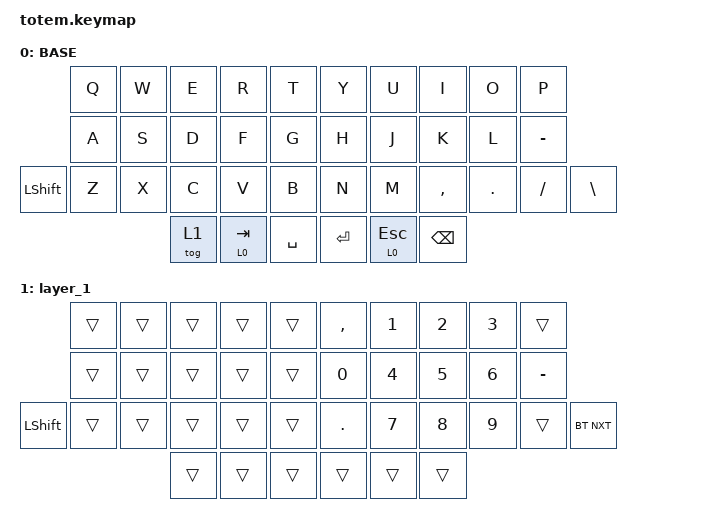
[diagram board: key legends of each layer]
//
//                                                        ▀▀▀▀▀     ▀▀▀▀▀          ▀▀█▀▀
//                                                        ▄▀▀▀▄  ▄  ▄▀▀▀▄  ▄  ▄▀▀▀▄  █  ▄▀▀▀▄
//                                                        █   █  █  █   █  █  █   █  █  █   █
//                                                         ▀▀▀   █   ▀▀▀   █   ▀▀▀   ▀   ▀▀▀
//                                                               █      ▄▄▄█▄▄▄    █   █
//                                                               ▀      █  █  █     █▄█
//                                                             ▀▀▀▀▀    █  █  █      ▀
//                                                                      ▀  ▀  ▀
//
// ▄▄▄▄▄▄▄▄▄▄▄▄▄▄▄▄▄▄▄▄▄▄▄▄▄▄▄▄▄▄▄▄▄▄▄▄▄▄▄▄▄▄▄▄▄▄▄▄▄▄▄▄▄▄▄▄▄▄▄▄▄▄▄▄▄▄▄▄▄▄▄▄▄▄▄▄▄▄▄▄▄▄▄▄▄▄▄▄▄▄▄▄▄▄▄▄▄▄▄▄▄▄▄▄▄▄▄▄▄▄▄▄▄▄▄▄▄▄▄▄▄▄▄▄▄▄▄▄▄▄▄▄▄▄▄▄▄▄▄▄▄▄▄▄▄▄▄▄▄

#include <behaviors.dtsi>
#include <dt-bindings/zmk/bt.h>
#include <dt-bindings/zmk/keys.h>

#define BASE 0
#define NAV  1
#define SYM  2
#define ADJ  3
#define TVP1 4
#define TVP2 5

&mt {
    quick-tap-ms = <100>;
    global-quick-tap;
    flavor = "tap-preferred";
    tapping-term-ms = <170>;
};

/ {
    combos {
        compatible = "zmk,combos";

        combo_esc {
            timeout-ms = <50>;
            key-positions = <0 1>;
            bindings = <&kp ESC>;
        };

        combo_tvp {
            timeout-ms = <100>;
            key-positions = <11 12 13>;
            bindings = <&tog 0>;
        };
    };

    macros {
        gif: gif {
            compatible = "zmk,behavior-macro";
            #binding-cells = <0>;
            bindings =
                <&macro_press>,
                <&kp LSHFT>,
                <&macro_tap>,
                <&kp N2>,
                <&macro_release>,
                <&kp LSHFT>,
                <&macro_tap>,
                <&kp G &kp I &kp F>;
        };
    };

    keymap {
        compatible = "zmk,keymap";

        // ▄▄▄▄▄▄▄▄▄▄▄▄▄▄▄▄▄▄▄▄▄▄▄▄▄▄▄▄▄▄▄▄▄▄▄▄▄▄▄▄▄▄▄▄▄▄▄▄▄▄▄▄▄▄▄▄▄▄▄▄▄▄▄▄▄▄▄▄▄▄▄▄▄▄▄▄▄▄▄▄▄▄▄▄▄▄▄▄▄▄▄▄▄▄▄▄▄▄▄▄▄▄▄▄▄▄▄▄▄▄▄▄▄▄▄▄▄▄▄▄▄▄▄▄▄▄▄▄▄▄▄▄▄▄▄▄▄▄▄▄▄▄▄▄▄▄▄▄▄

        base_layer {
            // ┏━━━━━━━━━━━━━━━━━━━━━━━━━━━━━━━━━━━━━━━┓
            // ┗━━━━━━━━━━━━━━━━━━━━━━━━━━━━━━━━━━━━━━━┛
            //             ┏━━━━━━━━━━━┳━━━━━━━━━━━┳━━━━━━━━━━━┳━━━━━━━━━━━┳━━━━━━━━━━━┓   ┏━━━━━━━━━━━┳━━━━━━━━━━━┳━━━━━━━━━━━┳━━━━━━━━━━━┳━━━━━━━━━━━┓
            //             ┃     Q     ┃     W     ┃     F     ┃     P     ┃     G     ┃   ┃     J     ┃     L     ┃     U     ┃     Y     ┃     ;     ┃
            //             ┣━━━━━━━━━━━╋━━━━━━━━━━━╋━━━━━━━━━━━╋━━━━━━━━━━━╋━━━━━━━━━━━┫   ┣━━━━━━━━━━━╋━━━━━━━━━━━╋━━━━━━━━━━━╋━━━━━━━━━━━╋━━━━━━━━━━━┫
            //             ┃     A     ┃     R     ┃     S     ┃     T     ┃     D     ┃   ┃     H     ┃     N     ┃     E     ┃     I     ┃     O     ┃
            // ┏━━━━━━━━━━━╋━━━━━━━━━━━╋━━━━━━━━━━━╋━━━━━━━━━━━╋━━━━━━━━━━━╋━━━━━━━━━━━┫   ┣━━━━━━━━━━━╋━━━━━━━━━━━╋━━━━━━━━━━━╋━━━━━━━━━━━╋━━━━━━━━━━━╋━━━━━━━━━━━┓
            // ┃     Q     ┃     Z     ┃     X     ┃     C     ┃     V     ┃     B     ┃   ┃     K     ┃     M     ┃     ,     ┃     .     ┃     /     ┃     \     ┃
            // ┗━━━━━━━━━━━┻━━━━━━━━━━━┻━━━━━━━━━━━╋━━━━━━━━━━━╋━━━━━━━━━━━╋━━━━━━━━━━━┫   ┣━━━━━━━━━━━╋━━━━━━━━━━━╋━━━━━━━━━━━╋━━━━━━━━━━━┻━━━━━━━━━━━┻━━━━━━━━━━━┛
            //                                     ┃    DEL    ┃    TAB    ┃    SPC    ┃   ┃   ENTER   ┃           ┃   BSPC    ┃
            //                                     ┗━━━━━━━━━━━┻━━━━━━━━━━━┻━━━━━━━━━━━┛   ┗━━━━━━━━━━━┻━━━━━━━━━━━┻━━━━━━━━━━━┛

            bindings = <
                &kp Q  &kp W  &kp E   &kp R      &kp T        &kp Y    &kp U      &kp I      &kp O    &kp P
                &kp A  &kp S  &kp D   &kp F      &kp G        &kp H    &kp J      &kp K      &kp L    &kp MINUS
&kp LEFT_SHIFT  &kp Z  &kp X  &kp C   &kp V      &kp B        &kp N    &kp M      &kp COMMA  &kp DOT  &kp FSLH   &kp BSLH
                              &tog 1  &lt 0 TAB  &kp SPACE    &kp RET  &lt 0 ESC  &kp BSPC
            >;

            label = "BASE";
        };

        layer_1 {
            bindings = <
                &trans  &trans  &trans  &trans  &trans    &kp COMMA  &kp N1  &kp N2  &kp N3  &trans
                &trans  &trans  &trans  &trans  &trans    &kp N0     &kp N4  &kp N5  &kp N6  &kp MINUS
&kp LEFT_SHIFT  &trans  &trans  &trans  &trans  &trans    &kp DOT    &kp N7  &kp N8  &kp N9  &trans     &bt BT_NXT
                                &trans  &trans  &trans    &trans     &trans  &trans
            >;
        };

        // ▄▄▄▄▄▄▄▄▄▄▄▄▄▄▄▄▄▄▄▄▄▄▄▄▄▄▄▄▄▄▄▄▄▄▄▄▄▄▄▄▄▄▄▄▄▄▄▄▄▄▄▄▄▄▄▄▄▄▄▄▄▄▄▄▄▄▄▄▄▄▄▄▄▄▄▄▄▄▄▄▄▄▄▄▄▄▄▄▄▄▄▄▄▄▄▄▄▄▄▄▄▄▄▄▄▄▄▄▄▄▄▄▄▄▄▄▄▄▄▄▄▄▄▄▄▄▄▄▄▄▄▄▄▄▄▄▄▄▄▄▄▄▄▄▄▄▄▄▄
        // ▄▄▄▄▄▄▄▄▄▄▄▄▄▄▄▄▄▄▄▄▄▄▄▄▄▄▄▄▄▄▄▄▄▄▄▄▄▄▄▄▄▄▄▄▄▄▄▄▄▄▄▄▄▄▄▄▄▄▄▄▄▄▄▄▄▄▄▄▄▄▄▄▄▄▄▄▄▄▄▄▄▄▄▄▄▄▄▄▄▄▄▄▄▄▄▄▄▄▄▄▄▄▄▄▄▄▄▄▄▄▄▄▄▄▄▄▄▄▄▄▄▄▄▄▄▄▄▄▄▄▄▄▄▄▄▄▄▄▄▄▄▄▄▄▄▄▄▄▄
        // ▄▄▄▄▄▄▄▄▄▄▄▄▄▄▄▄▄▄▄▄▄▄▄▄▄▄▄▄▄▄▄▄▄▄▄▄▄▄▄▄▄▄▄▄▄▄▄▄▄▄▄▄▄▄▄▄▄▄▄▄▄▄▄▄▄▄▄▄▄▄▄▄▄▄▄▄▄▄▄▄▄▄▄▄▄▄▄▄▄▄▄▄▄▄▄▄▄▄▄▄▄▄▄▄▄▄▄▄▄▄▄▄▄▄▄▄▄▄▄▄▄▄▄▄▄▄▄▄▄▄▄▄▄▄▄▄▄▄▄▄▄▄▄▄▄▄▄▄▄
        // ▄▄▄▄▄▄▄▄▄▄▄▄▄▄▄▄▄▄▄▄▄▄▄▄▄▄▄▄▄▄▄▄▄▄▄▄▄▄▄▄▄▄▄▄▄▄▄▄▄▄▄▄▄▄▄▄▄▄▄▄▄▄▄▄▄▄▄▄▄▄▄▄▄▄▄▄▄▄▄▄▄▄▄▄▄▄▄▄▄▄▄▄▄▄▄▄▄▄▄▄▄▄▄▄▄▄▄▄▄▄▄▄▄▄▄▄▄▄▄▄▄▄▄▄▄▄▄▄▄▄▄▄▄▄▄▄▄▄▄▄▄▄▄▄▄▄▄▄▄
        // ▄▄▄▄▄▄▄▄▄▄▄▄▄▄▄▄▄▄▄▄▄▄▄▄▄▄▄▄▄▄▄▄▄▄▄▄▄▄▄▄▄▄▄▄▄▄▄▄▄▄▄▄▄▄▄▄▄▄▄▄▄▄▄▄▄▄▄▄▄▄▄▄▄▄▄▄▄▄▄▄▄▄▄▄▄▄▄▄▄▄▄▄▄▄▄▄▄▄▄▄▄▄▄▄▄▄▄▄▄▄▄▄▄▄▄▄▄▄▄▄▄▄▄▄▄▄▄▄▄▄▄▄▄▄▄▄▄▄▄▄▄▄▄▄▄▄▄▄▄
    };
};
